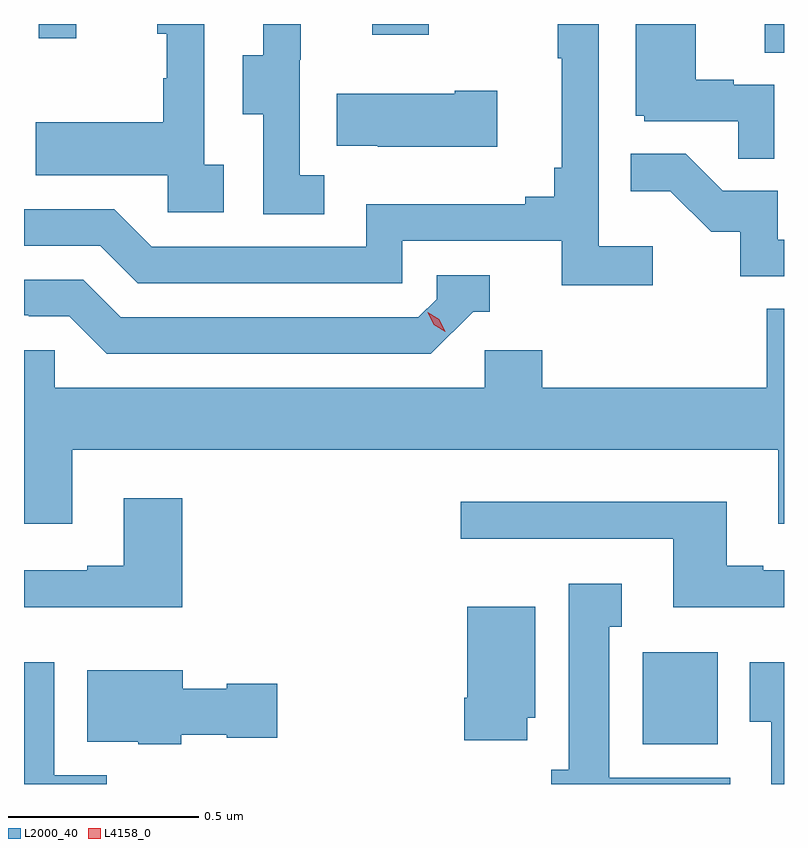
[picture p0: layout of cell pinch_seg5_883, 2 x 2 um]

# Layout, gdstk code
import gdstk
lib = gdstk.Library(unit=1e-6, precision=1e-09)
def R(c, l, rs):  # rectangles x0, y0, x1, y1
    for r in rs: c.add(gdstk.rectangle(r[:2], r[2:], *l))
def P(c, l, *ps):  # polygons
    for p in ps: c.add(gdstk.Polygon(p, *l))
L2000_40 = (2000, 40)
L4158_0 = (4158, 0)

pinch_seg5_883 = lib.new_cell('pinch_seg5_883')
R(pinch_seg5_883, L2000_40, [(847.346,881.294,847.543,881.536), (847.667,883.114,847.718,883.189), (845.757,883.152,845.855,883.189), (846.635,883.161,846.783,883.189)])
P(pinch_seg5_883, L2000_40, [(847.692,883.029),(847.586,883.029),(847.586,883.042),(847.486,883.042),(847.486,883.189),(847.328,883.189),(847.328,882.948),(847.35,882.948),(847.35,882.933),(847.597,882.933),(847.597,882.835),(847.692,882.835)],
  [(847.372,882.604),(847.23,882.604),(847.23,883.189),(847.122,883.189),(847.122,883.099),(847.133,883.099),(847.133,882.811),(847.114,882.811),(847.114,882.734),(847.037,882.734),(847.037,882.715),(846.618,882.715),(846.618,882.603),(846.054,882.603),(845.955,882.702),(845.718,882.702),(845.718,882.606),(845.918,882.606),(846.017,882.507),(846.714,882.507),(846.714,882.618),(847.133,882.618),(847.133,882.502),(847.372,882.502)],
  [(846.508,882.791),(846.444,882.791),(846.444,883.095),(846.446,883.095),(846.446,883.189),(846.347,883.189),(846.347,883.107),(846.293,883.107),(846.293,882.952),(846.348,882.952),(846.348,882.688),(846.508,882.688)],
  [(846.244,882.818),(846.192,882.818),(846.192,883.189),(846.068,883.189),(846.068,883.164),(846.094,883.164),(846.094,883.046),(846.084,883.046),(846.084,882.931),(845.749,882.931),(845.749,882.791),(846.096,882.791),(846.096,882.693),(846.244,882.693)],
  [(846.964,883.014),(846.851,883.014),(846.851,883.006),(846.541,883.006),(846.541,882.869),(846.649,882.869),(846.649,882.866),(846.964,882.866)],
  [(847.718,882.621),(847.701,882.621),(847.701,882.75),(847.557,882.75),(847.459,882.848),(847.315,882.848),(847.315,882.749),(847.419,882.749),(847.526,882.642),(847.603,882.642),(847.603,882.525),(847.718,882.525)],
  [(846.9,882.432),(846.943,882.432),(846.943,882.528),(846.804,882.528),(846.804,882.465),(846.756,882.417),(845.973,882.417),(845.874,882.516),(845.718,882.516),(845.718,882.423),(845.73,882.423),(845.73,882.42),(845.837,882.42),(845.936,882.321),(846.789,882.321)],
  [(845.845,882.068),(847.703,882.068),(847.703,881.874),(847.718,881.874),(847.718,882.44),(847.673,882.44),(847.673,882.232),(847.082,882.232),(847.082,882.33),(846.93,882.33),(846.93,882.232),(845.799,882.232),(845.799,882.33),(845.718,882.33),(845.718,881.874),(845.845,881.874)],
  [(846.134,881.941),(845.981,881.941),(845.981,881.764),(845.885,881.764),(845.885,881.751),(845.718,881.751),(845.718,881.654),(846.134,881.654)],
  [(847.718,881.751),(847.663,881.751),(847.663,881.764),(847.567,881.764),(847.567,881.932),(846.867,881.932),(846.867,881.835),(847.427,881.835),(847.427,881.654),(847.718,881.654)],
  [(847.576,881.206),(847.258,881.206),(847.258,881.603),(847.291,881.603),(847.291,881.716),(847.151,881.716),(847.151,881.226),(847.106,881.226),(847.106,881.189),(847.576,881.189)],
  [(847.042,881.364),(847.063,881.364),(847.063,881.656),(846.884,881.656),(846.884,881.416),(846.877,881.416),(846.877,881.304),(847.042,881.304)],
  [(847.718,881.509),(847.628,881.509),(847.628,881.353),(847.685,881.353),(847.685,881.189),(847.718,881.189)],
  [(845.936,881.212),(845.797,881.212),(845.797,881.509),(845.718,881.509),(845.718,881.189),(845.936,881.189)],
  [(846.132,881.318),(846.252,881.318),(846.252,881.311),(846.385,881.311),(846.385,881.453),(846.252,881.453),(846.252,881.44),(846.136,881.44),(846.136,881.488),(845.885,881.488),(845.885,881.3),(846.018,881.3),(846.018,881.294),(846.132,881.294)])
P(pinch_seg5_883, L4158_0, [(846.827,882.379),(846.796,882.398),(846.78,882.431),(846.78,882.431),(846.78,882.431),(846.811,882.412),(846.827,882.379),(846.827,882.379)])

lib.write_gds('pinch_seg5_883.gds')
